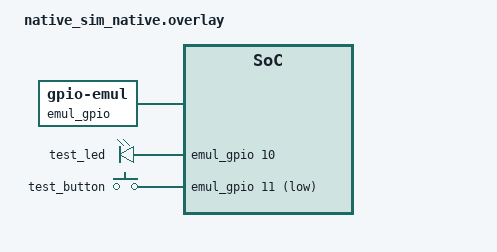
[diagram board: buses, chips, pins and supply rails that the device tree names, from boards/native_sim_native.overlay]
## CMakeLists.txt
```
cmake_minimum_required(VERSION 3.20)
find_package(Zephyr REQUIRED HINTS $ENV{ZEPHYR_BASE})
project(fff_mocks)

target_sources(app PRIVATE
    src/main.c
    src/dispenser.c
    src/auger_port_sim.c
)

target_include_directories(app PRIVATE src)
```

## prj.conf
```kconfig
CONFIG_GPIO=y
CONFIG_PRINTK=y

# Leave the sensor stack off by default so a plain `west build -b
# native_sim/native` picks src/sensor_port_sim.c and runs with no I2C at all.
# Turn these on (and add a bme280 node) for a real board:
# CONFIG_I2C=y
# CONFIG_SENSOR=y
# CONFIG_BME280=y
```

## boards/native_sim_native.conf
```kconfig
# Put the console on the stdin/stdout of the shell that launched zephyr.exe,
# so the app prints straight into your terminal.
CONFIG_UART_NATIVE_PTY_0_ON_STDINOUT=y
```

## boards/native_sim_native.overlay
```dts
/* boards/native_sim.overlay */
/ {
    /* GPIO emulator for native_sim - must match what test_harness expects */
    emul_gpio: gpio_emul {
        compatible = "zephyr,gpio-emul";
        status = "okay";
        gpio-controller;
        #gpio-cells = <2>;
        ngpios = <32>;
        interrupt-controller;
        #interrupt-cells = <2>;
        rising-edge;
        falling-edge;
        high-level;
        low-level;
    };

    leds {
        compatible = "gpio-leds";
        test_led: led_0 {
            gpios = <&emul_gpio 10 GPIO_ACTIVE_HIGH>;
        };
    };

    buttons {
        compatible = "gpio-keys";
        test_button: btn_0 {
            gpios = <&emul_gpio 11 (GPIO_PULL_UP | GPIO_ACTIVE_LOW)>;
            zephyr,code = <0x01>;  /* KEY_0 */
        };
    };

    aliases {
        led0 = &test_led;
        sw0 = &test_button;
    };
};
```

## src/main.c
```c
// Composition root: the only file that picks which auger the dispenser uses.
// tests/fff brings its own main() and auger_run() instead.

#include <zephyr/kernel.h>
#include <zephyr/sys/printk.h>

#include "dispenser.h"

#define PORTION_G 250

int main(void)
{
	struct dispenser d;

	printk("Pond feeder dispenser starting\n");
	dispenser_init(&d);

	while (1) {
		int ret = dispenser_feed(&d, PORTION_G);

		printk("feed -> %d | total %u g | jams %u\n",
		       ret, d.dispensed_g, d.jams);

		k_sleep(K_SECONDS(1));
	}

	return 0;
}
```

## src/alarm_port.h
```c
// src/alarm_port.h
//
// The other half of the seam: where the decision goes out.
//
// On a board this drives an LED. In tests it is a FAKE_VOID_FUNC, and the
// assertions are about *when* it was called and with what, which is not
// something you can ask a GPIO.

#ifndef ALARM_PORT_H_
#define ALARM_PORT_H_

#include <stdbool.h>

/** Drive the alarm indicator. Called only when the state actually changes. */
void alarm_port_set(bool on);

#endif /* ALARM_PORT_H_ */
```

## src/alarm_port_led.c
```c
// src/alarm_port_led.c
//
// The production implementation of alarm_port.h. An LED, through the led0
// alias, exactly as apps/01-blinky does it.

#include <zephyr/device.h>
#include <zephyr/drivers/gpio.h>
#include <zephyr/sys/printk.h>

#include "alarm_port.h"

#define LED0_NODE DT_ALIAS(led0)
static const struct gpio_dt_spec led = GPIO_DT_SPEC_GET(LED0_NODE, gpios);

void alarm_port_set(bool on)
{
	if (!device_is_ready(led.port)) {
		printk("alarm: LED not ready, state would be %s\n", on ? "ON" : "OFF");
		return;
	}

	gpio_pin_configure_dt(&led, GPIO_OUTPUT);
	gpio_pin_set_dt(&led, on ? 1 : 0);
	printk("alarm: %s\n", on ? "ON" : "OFF");
}
```

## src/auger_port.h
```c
// The seam: one function, no implementation here. The dispenser only knows
// auger_run(), so a test can link its own definition in place of the real one.

#ifndef AUGER_PORT_H_
#define AUGER_PORT_H_

#include <stdint.h>

/**
 * Turn the auger long enough to push @p grams of pellets out.
 *
 * @retval 0    the pellets went out
 * @retval -EIO the auger jammed, nothing moved
 */
int auger_run(uint16_t grams);

#endif /* AUGER_PORT_H_ */
```

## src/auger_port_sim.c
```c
// The shipping auger_run() for a laptop, not a test double: no test links it.
// Jams every third call so the dispenser's retry shows when you run the app.
// On a real feeder this file drives the motor and nothing above it changes.

#include <errno.h>

#include <zephyr/sys/printk.h>

#include "auger_port.h"

static uint32_t calls;

int auger_run(uint16_t grams)
{
	calls++;

	if (calls % 3 == 0) {
		printk("auger: JAM\n");
		return -EIO;
	}

	printk("auger: %u g\n", grams);
	return 0;
}
```

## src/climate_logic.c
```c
// src/sensors/climate_logic.c

#include "climate_logic.h"

int32_t climate_milli(int32_t val1, int32_t val2)
{
    /* val2 is millionths, so a milli-unit is 1000 of them. Round to nearest
     * instead of truncating: truncation silently drops up to a whole
     * milli-unit off every single reading, always in the same direction,
     * which shows up months later as an averaged value that is quietly wrong
     * rather than as anything that looks like a bug. */
    int32_t milli = val2 / 1000;
    int32_t rem = val2 % 1000;

    if (rem >= 500) {
        milli += 1;
    } else if (rem <= -500) {
        milli -= 1;
    }

    return val1 * 1000 + milli;
}

bool climate_alarm(int32_t temp_mc, int32_t hum_mrh, bool prev)
{
    if (prev) {
        /* Already on: hold until BOTH readings fall back under their release
         * points. Either one still high keeps it latched. */
        return (temp_mc > CLIMATE_TEMP_OFF_MC) || (hum_mrh > CLIMATE_HUM_OFF_MRH);
    }

    /* Off: either reading reaching its trip point is enough. */
    return (temp_mc >= CLIMATE_TEMP_ON_MC) || (hum_mrh >= CLIMATE_HUM_ON_MRH);
}
```

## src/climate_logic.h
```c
// src/sensors/climate_logic.h
//
// THE SEAM.
//
// Everything this app *decides* about a reading, with no device, no
// devicetree, no I2C and no kernel in sight. Deliberately zero Zephyr
// dependencies -- the same rule apps/02-ztest/src/blink_logic.h follows -- so
// tests/unit needs no driver, no CONFIG_SENSOR and no board.
//
// This is where a sensor earns its place in a testing workshop. Toggling a
// GPIO is a boolean; fixed-point conversion and alarm hysteresis are real bug
// classes you can only catch by testing the arithmetic directly.

#ifndef CLIMATE_LOGIC_H_
#define CLIMATE_LOGIC_H_

#include <stdbool.h>
#include <stdint.h>

/* Alarm trips at the ON points and only releases below the OFF points. The
 * gap is the hysteresis -- without it a reading sitting exactly on the
 * threshold chatters the alarm on and off on every sample. */
#define CLIMATE_TEMP_ON_MC    30000  /*  30.0 degC */
#define CLIMATE_TEMP_OFF_MC   28000  /*  28.0 degC */
#define CLIMATE_HUM_ON_MRH    70000  /*  70.0 %RH  */
#define CLIMATE_HUM_OFF_MRH   65000  /*  65.0 %RH  */

/**
 * Collapse a Zephyr sensor_value (val1 + val2/1e6) into milli-units.
 *
 * Pass the two fields rather than the struct so this header stays free of
 * Zephyr includes. Rounds to nearest; see the note in the .c file.
 */
int32_t climate_milli(int32_t val1, int32_t val2);

/**
 * Should the alarm be on, given this reading and its own previous state?
 *
 * @param prev the alarm's last value -- passed in rather than held in a
 *             static, so the function stays pure and the hysteresis is
 *             something a test can drive directly.
 */
bool climate_alarm(int32_t temp_mc, int32_t hum_mrh, bool prev);

#endif /* CLIMATE_LOGIC_H_ */
```

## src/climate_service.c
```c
// src/climate_service.c

#include <errno.h>
#include <string.h>

#include "climate_service.h"
#include "climate_logic.h"
#include "alarm_port.h"

void climate_service_init(struct climate_service *svc)
{
	memset(svc, 0, sizeof(*svc));
}

void climate_service_clear_fault(struct climate_service *svc)
{
	svc->faulted = false;
	svc->consecutive_errors = 0;
}

int climate_service_tick(struct climate_service *svc)
{
	/* Zero-initialised on purpose. sensor_port_read() only promises to fill
	 * this on success, and a partially-written struct read back after a
	 * half-failed driver call is a genuinely nasty bug to chase. */
	struct climate_raw raw = {0};
	bool next;
	int ret;

	if (svc->faulted) {
		return -EIO;
	}

	ret = sensor_port_read(&raw);
	if (ret != 0) {
		svc->errors++;
		svc->consecutive_errors++;

		if (svc->consecutive_errors >= CLIMATE_MAX_CONSECUTIVE_ERRORS) {
			svc->faulted = true;
		}

		/* Deliberately does NOT touch the alarm. A sensor that stopped
		 * answering is not a sensor reporting "everything is fine", and
		 * clearing the alarm here would be exactly that mistake. There
		 * is a test named after this paragraph. */
		return ret;
	}

	svc->consecutive_errors = 0;
	svc->reads++;
	svc->last = raw;

	next = climate_alarm(raw.temp_mc, raw.hum_mrh, svc->alarm);

	/* Only on a change. Calling alarm_port_set() every cycle would work
	 * and would also hammer a GPIO, or an MQTT publish, at the sample
	 * rate. Whether this edge detection is correct is the single most
	 * useful thing a fake can tell you here, and no amount of staring at
	 * an LED will. */
	if (next != svc->alarm) {
		svc->alarm = next;
		alarm_port_set(next);
	}

	return 0;
}
```

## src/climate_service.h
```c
// src/climate_service.h
//
// The unit under test. It reads through sensor_port, decides with
// climate_logic, and announces through alarm_port. It includes no Zephyr
// header, binds no devicetree node and opens no bus.
//
// That is not an accident of this example. It is the shape you have to give a
// module before fakes are of any use at all: if climate_service.c called
// sensor_sample_fetch() directly there would be nothing to substitute, short
// of linker tricks.

#ifndef CLIMATE_SERVICE_H_
#define CLIMATE_SERVICE_H_

#include <stdbool.h>
#include <stdint.h>

#include "sensor_port.h"

/** Give up and latch an error after this many consecutive read failures. */
#define CLIMATE_MAX_CONSECUTIVE_ERRORS 3

struct climate_service {
	struct climate_raw last;
	bool alarm;
	bool faulted;
	uint32_t reads;
	uint32_t errors;
	uint8_t consecutive_errors;
};

/** Zero the service. Does not touch the ports. */
void climate_service_init(struct climate_service *svc);

/**
 * One cycle: read, decide, announce.
 *
 * @retval 0        a sample was taken and acted on
 * @retval negative whatever sensor_port_read() returned
 * @retval -EIO     already faulted; no read was attempted
 */
int climate_service_tick(struct climate_service *svc);

/** Clear a latched fault and the consecutive error count. */
void climate_service_clear_fault(struct climate_service *svc);

#endif /* CLIMATE_SERVICE_H_ */
```

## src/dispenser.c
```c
#include <errno.h>
#include <string.h>

#include "dispenser.h"
#include "auger_port.h"

void dispenser_init(struct dispenser *d)
{
	memset(d, 0, sizeof(*d));
}

int dispenser_feed(struct dispenser *d, uint16_t grams)
{
	int ret = -EIO;

	/* Zero grams never reaches the motor: a zero-length run still spins the
	 * auger up and down, which spends battery on a solar feeder. */
	if (grams == 0) {
		return -EINVAL;
	}

	for (int i = 0; i < DISPENSER_ATTEMPTS; i++) {
		ret = auger_run(grams);
		if (ret == 0) {
			d->dispensed_g += grams;
			return 0;
		}
	}

	/* Count and report the jam, or a skipped meal looks exactly like a fed one. */
	d->jams++;
	return ret;
}
```

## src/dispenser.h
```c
// Dispenses one portion through the auger seam in auger_port.h, retrying a jam.
// No Zephyr headers or drivers, so tests/fff can substitute auger_run(); a
// direct gpio_pin_set_dt() call would leave nothing to fake.

#ifndef DISPENSER_H_
#define DISPENSER_H_

#include <stdint.h>

/** Tries per portion. One retry, because most jams clear on a second turn. */
#define DISPENSER_ATTEMPTS 2

struct dispenser {
	uint32_t dispensed_g;
	uint32_t jams;
};

/** Zero the counters. */
void dispenser_init(struct dispenser *d);

/**
 * Put one portion in the water.
 *
 * @retval 0       the portion went out, possibly on the second attempt
 * @retval -EIO    every attempt jammed, nothing was dispensed
 * @retval -EINVAL @p grams was zero
 */
int dispenser_feed(struct dispenser *d, uint16_t grams);

#endif /* DISPENSER_H_ */
```

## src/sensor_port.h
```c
// src/sensor_port.h
//
// THE SEAM, drawn one level higher than in apps/06-sensor.
//
// app 06 faked the *chip*: an emulated BME280 on an emulated I2C bus, with
// the real Bosch driver in the middle. That is the right answer when what you
// want to test is the driver integration.
//
// This header fakes the *dependency* instead. climate_service.c knows there
// is a function called sensor_port_read() and nothing else. Whether the
// implementation behind it talks to a BME280, a thermocouple or a struct
// literal in a test file is not its problem.
//
// Both are useful and they answer different questions:
//
//   emulator  -- "does my code drive this chip correctly?"
//   fake port -- "does my code do the right thing when the chip returns
//                 -EIO three times in a row?"
//
// The second question is miserable to answer with an emulator, because you
// have to make a plausible chip misbehave in a specific way. With a fake it
// is one line.

#ifndef SENSOR_PORT_H_
#define SENSOR_PORT_H_

#include <stdbool.h>
#include <stdint.h>

struct climate_raw {
	int32_t temp_mc;
	int32_t press_pa;
	int32_t hum_mrh;
};

/** Is the sensor usable? Checked once at startup. */
bool sensor_port_ready(void);

/**
 * Read one sample.
 *
 * @retval 0        *out was filled
 * @retval negative errno from the driver; *out is undefined
 */
int sensor_port_read(struct climate_raw *out);

#endif /* SENSOR_PORT_H_ */
```

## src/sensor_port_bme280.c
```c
// src/sensor_port_bme280.c
//
// The production implementation of sensor_port.h. Built only where there is a
// BME280 in the devicetree -- see CMakeLists.txt.
//
// Nothing in tests/fff ever links this file. That is the whole arrangement:
// the bus, the driver and the devicetree all live on this side of the seam,
// and the tests live on the other.

#include <errno.h>

#include <zephyr/device.h>
#include <zephyr/drivers/sensor.h>

#include "sensor_port.h"
#include "climate_logic.h"

#define BME280_NODE DT_NODELABEL(bme280)
static const struct device *const dev = DEVICE_DT_GET(BME280_NODE);

bool sensor_port_ready(void)
{
	return device_is_ready(dev);
}

int sensor_port_read(struct climate_raw *out)
{
	struct sensor_value temp, press, hum;
	int ret;

	ret = sensor_sample_fetch(dev);
	if (ret != 0) {
		return ret;
	}

	ret = sensor_channel_get(dev, SENSOR_CHAN_AMBIENT_TEMP, &temp);
	if (ret != 0) {
		return ret;
	}

	ret = sensor_channel_get(dev, SENSOR_CHAN_PRESS, &press);
	if (ret != 0) {
		return ret;
	}

	ret = sensor_channel_get(dev, SENSOR_CHAN_HUMIDITY, &hum);
	if (ret != 0) {
		return ret;
	}

	out->temp_mc = climate_milli(temp.val1, temp.val2);
	out->press_pa = climate_milli(press.val1, press.val2);
	out->hum_mrh = climate_milli(hum.val1, hum.val2);

	return 0;
}
```
